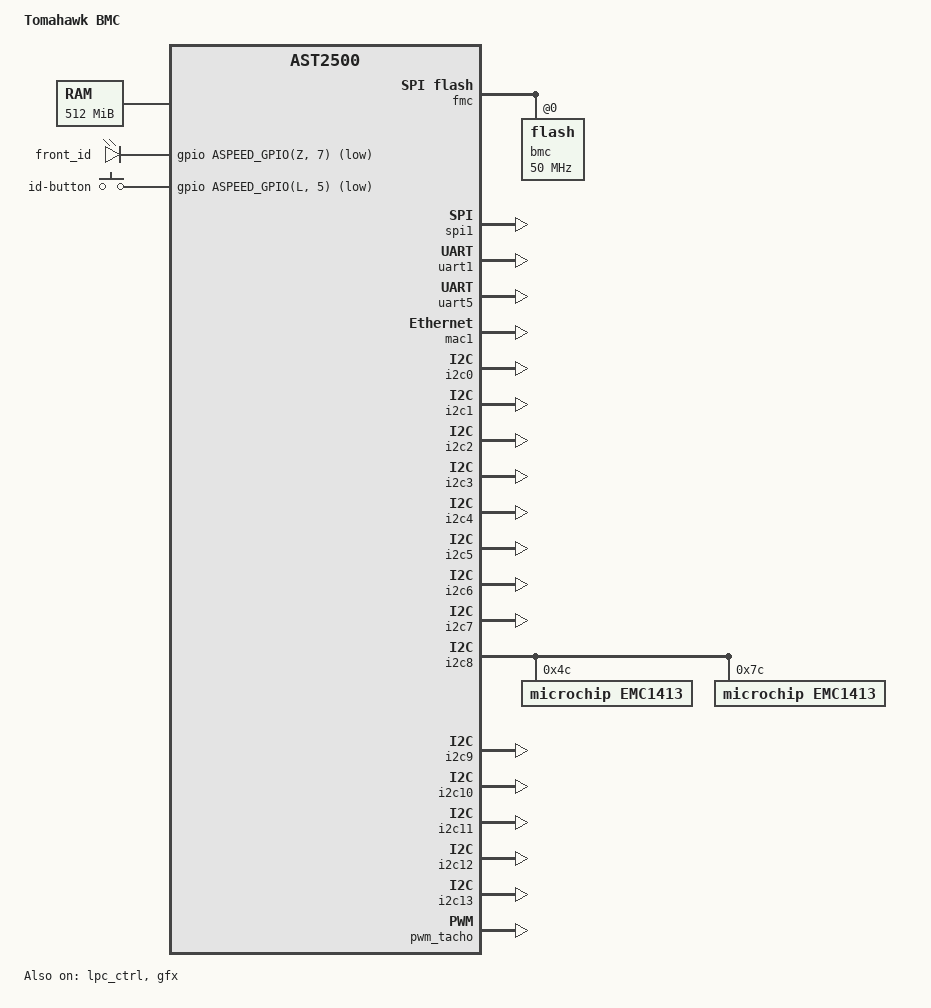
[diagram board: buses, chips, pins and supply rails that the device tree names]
//Prototype device tree file
/dts-v1/;

#include "aspeed-g5.dtsi"
#include <dt-bindings/gpio/aspeed-gpio.h>

/ {
	model = "Tomahawk BMC";
	compatible = "aspeed,ast2500";

	chosen {
		stdout-path = &uart5;
		bootargs = "console=ttyS4,115200 earlyprintk";
	};

	memory@80000000 {
		reg = <0x80000000 0x20000000>;
	};

	leds {
		compatible = "gpio-leds";

		front_id {
			gpios = <&gpio ASPEED_GPIO(Z, 7) GPIO_ACTIVE_LOW>;
		};

	};

	reserved-memory {
		#address-cells = <1>;
		#size-cells = <1>;
		ranges;

		flash_memory: region@98000000 {
			no-map;
			reg = <0x98000000 0x04000000>; /* 64M */
		};

		gfx_memory: framebuffer {
			size = <0x01000000>;
			alignment = <0x01000000>;
			compatible = "shared-dma-pool";
            reusable;
        };
	};

	gpio-keys {
		compatible = "gpio-keys";

		id-button {
			label = "id-button";
			gpios = <&gpio ASPEED_GPIO(L, 5) GPIO_ACTIVE_LOW>;
			linux,code = <ASPEED_GPIO(L, 5)>;
		};
	};

};


&fmc {
	status = "okay";
	flash@0 {
		status = "okay";
		m25p,fast-read;
		label = "bmc";
		spi-max-frequency = <50000000>;
#include "openbmc-flash-layout.dtsi"
	};
};

&spi1 {
	status = "okay";
	//SPI needs work and/or confirmation
};

//LPC needs to be done
&lpc_ctrl {
	status = "okay";
	memory-region = <&flash_memory>;
	flash = <&spi1>;
};

&uart1 {
	status = "okay";
	pinctrl-names = "default";
	pinctrl-0 = <&pinctrl_txd1_default
		     &pinctrl_rxd1_default>;
};

&uart5 {
	status = "okay";
};

&mac1 {
	status = "okay";

	pinctrl-names = "default";
	pinctrl-0 = <&pinctrl_rgmii2_default &pinctrl_mdio2_default>;
};

//Add one to the i2c bus when comparing to the hardware schematic
&i2c0 {
	status = "okay";
};

&i2c1 {
	status = "okay";
};

&i2c2 {
	status = "okay";
};

&i2c3 {
	status = "okay";
};

&i2c4 {
	status = "okay";
};

&i2c5 {
	status = "okay";
};

&i2c6 {
	status = "okay";
};

&i2c7 {
	status = "okay";
};

&i2c8 {
	status = "okay";

	emc1413@4c {
		compatible = "microchip,emc1413";
		reg = <0x4c>;
	};
	emc1413@7c {
		compatible = "microchip,emc1413";
		reg = <0x7c>;
	};
};

&i2c9 {
	status = "okay";
};

&i2c10 {
	status = "okay";
};

&i2c11 {
	status = "okay";
};

&i2c12 {
	status = "okay";
};

&i2c13 {
	status = "okay";
};

&gpio {
};

&gfx {
     status = "okay";
     memory-region = <&gfx_memory>;
};

&pwm_tacho {
	status = "okay";
	pinctrl-names = "default";
	pinctrl-0 = <&pinctrl_pwm0_default &pinctrl_pwm1_default
		&pinctrl_pwm2_default &pinctrl_pwm3_default>;

	fan@0 {
		reg = <0x00>;
		aspeed,fan-tach-ch = /bits/ 8 <0x00>;
	};

	fan@1 {
		reg = <0x01>;
		aspeed,fan-tach-ch = /bits/ 8 <0x01>;
	};

	fan@2 {
		reg = <0x02>;
		aspeed,fan-tach-ch = /bits/ 8 <0x02>;
	};

	fan@3 {
		reg = <0x03>;
		aspeed,fan-tach-ch = /bits/ 8 <0x03>;
	};

	fan@4 {
		reg = <0x04>;
		aspeed,fan-tach-ch = /bits/ 8 <0x04>;
	};

	fan@5 {
		reg = <0x05>;
		aspeed,fan-tach-ch = /bits/ 8 <0x05>;
	};

	fan@6 {
		reg = <0x06>;
		aspeed,fan-tach-ch = /bits/ 8 <0x06>;
	};

	fan@7 {
		reg = <0x07>;
		aspeed,fan-tach-ch = /bits/ 8 <0x07>;
	};
};
